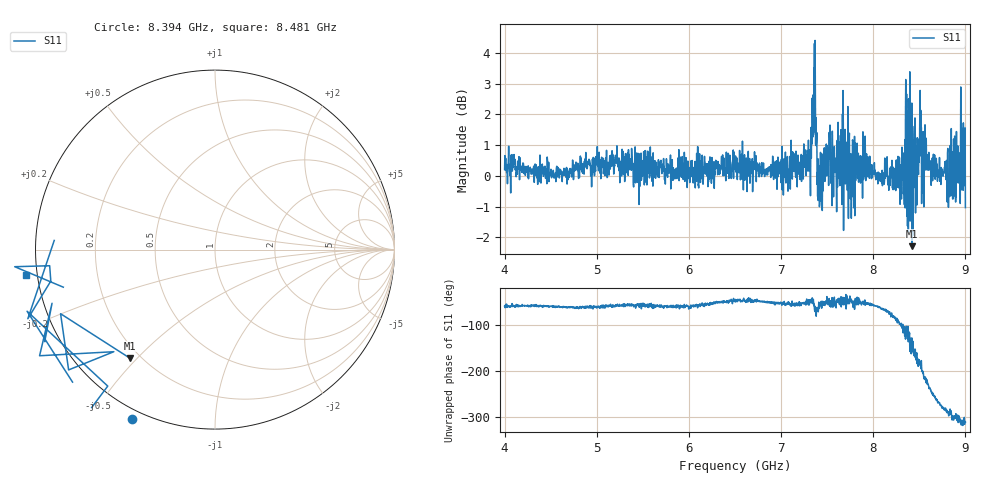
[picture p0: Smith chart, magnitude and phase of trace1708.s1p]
! Created with skrf 1.8.0 (http://scikit-rf.org).
# Hz S RI R 50.0
!freq ReS11 ImS11
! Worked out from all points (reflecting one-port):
!   1601 points, 4 GHz to 9 GHz, reference 50 ohm
!   lowest |S11| = -2.3 dB at 8.422 GHz (marker M1), VSWR 7.65, Z = 8.05 - j23.8 ohm
!   phase of S11 starts at -57 deg and turns -254 deg over the sweep
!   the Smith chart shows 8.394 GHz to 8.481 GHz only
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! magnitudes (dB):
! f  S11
! 4 GHz  0.2
! 4.625 GHz  -0.2
! 5.25 GHz  -0.2
! 5.875 GHz  0.2
! 6.5 GHz  0.2
! 7.125 GHz  0.8
! 7.294 GHz  0.2
! 7.328 GHz  0.6
! 7.347 GHz  2.6
! 7.362 GHz  4.3
! 7.4 GHz  0.6
! 7.422 GHz  -0.4
! 7.512 GHz  0.9
! 7.588 GHz  0.2
! 7.691 GHz  0.8
! 7.75 GHz  0.1
! 7.775 GHz  1.2
! 7.8 GHz  -1.3
! 7.891 GHz  0.6
! 8.312 GHz  0.9
! 8.375 GHz  -0.1
! 8.422 GHz  -2.3
! 8.447 GHz  1.6
! 8.522 GHz  1.6
! 8.606 GHz  0.2
! 8.838 GHz  -0.4
! 8.972 GHz  0.6
! 9 GHz  -1.0
